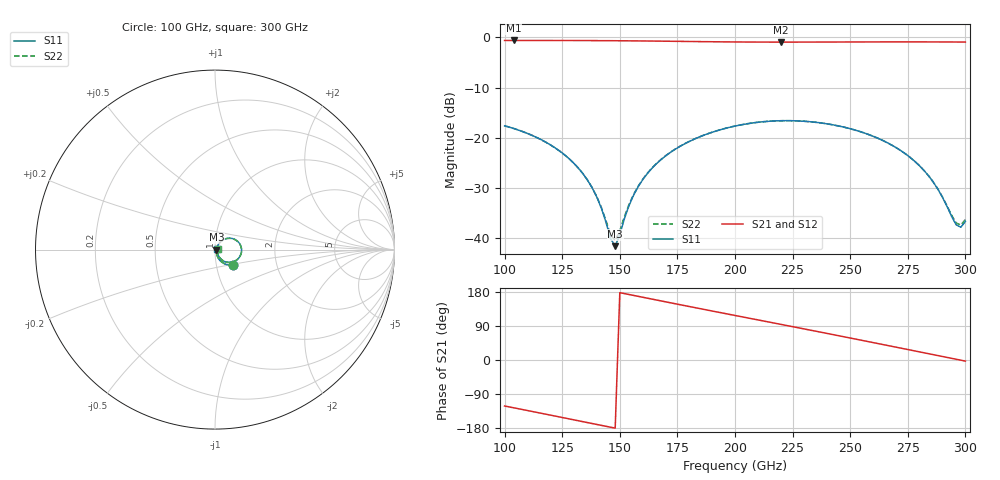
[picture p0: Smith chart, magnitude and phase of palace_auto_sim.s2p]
#  GHZ S DB R 50
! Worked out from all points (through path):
!   101 points, 100 GHz to 300 GHz, reference 50 ohm
!   highest |S21| = -0.60 dB at 104 GHz (marker M1); lowest = -0.9 dB at 220 GHz (marker M2)
!   group delay of S21, straight-line fit = 3.34 ps
!   lowest |S11| = -41.6 dB at 148 GHz (marker M3), VSWR 1.02, Z = 50.8 - j0.0199 ohm
!   |S11| at or under -10 dB: start of sweep to end of sweep
!   |S22| runs from -40.5 to -16.6 dB; largest |S21 - S12| = 1.6e-13
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100  -17.61 -39.4  -0.60 -121.4  -0.60 -121.4  -17.62 -39.1
104  -18.15 -43.6  -0.60 -126.2  -0.60 -126.2  -18.16 -43.3
122  -22.03 -61.6  -0.60 -148.1  -0.60 -148.1  -22.04 -61.0
134  -27.16 -70.3  -0.62 -162.7  -0.62 -162.7  -27.15 -68.9
140  -31.80 -69.1  -0.63 -170.1  -0.63 -170.1  -31.72 -66.8
146  -40.07 -38.1  -0.65 -177.4  -0.65 -177.4  -39.32 -34.3
148  -41.60 -1.3  -0.65 -179.8  -0.65 -179.8  -40.49 -1.3
156  -31.43 56.2  -0.68 170.4  -0.68 170.4  -31.28 53.9
162  -27.10 56.8  -0.71 163.1  -0.71 163.1  -27.04 55.3
168  -24.30 53.2  -0.74 155.8  -0.74 155.8  -24.27 52.1
182  -20.34 41.0  -0.81 138.9  -0.81 138.9  -20.32 40.3
200  -17.66 22.6  -0.89 117.6  -0.89 117.6  -17.66 22.1
220  -16.60 0.2  -0.92 93.9  -0.92 93.9  -16.60 -0.2
234  -16.86 -15.6  -0.92 77.2  -0.92 77.2  -16.86 -15.9
250  -18.19 -33.2  -0.90 58.0  -0.90 58.0  -18.19 -33.4
268  -21.45 -51.2  -0.89 36.2  -0.89 36.2  -21.45 -51.3
276  -23.91 -57.6  -0.88 26.4  -0.88 26.4  -23.91 -57.5
284  -27.57 -60.7  -0.89 16.7  -0.89 16.7  -27.56 -60.2
290  -31.82 -55.5  -0.90 9.3  -0.90 9.3  -31.75 -54.5
296  -37.35 -22.0  -0.91 2.0  -0.91 2.0  -36.99 -20.8
298  -37.83 1.2  -0.91 -0.5  -0.91 -0.5  -37.38 1.2
300  -36.69 22.3  -0.92 -2.9  -0.92 -2.9  -36.31 21.2
